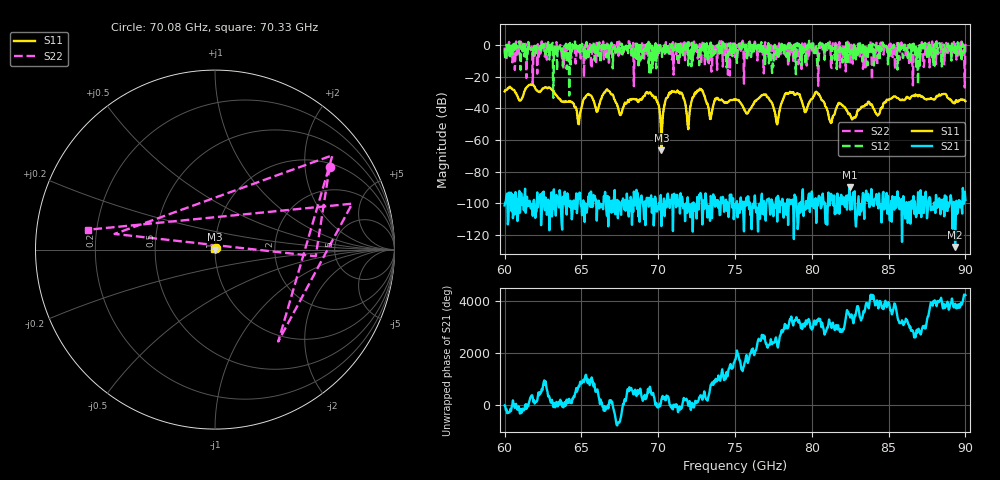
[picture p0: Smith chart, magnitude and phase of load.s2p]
!Created with skrf (http://scikit-rf.org).
# GHz S RI R 50.0
!freq ReS11 ImS11 ReS21 ImS21 ReS12 ImS12 ReS22 ImS22
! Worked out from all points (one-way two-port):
!   721 points, 60 GHz to 90 GHz, reference 50 ohm
!   highest |S21| = -89.91 dB at 82.46 GHz (marker M1); lowest = -127.5 dB at 89.33 GHz (marker M2)
!   lowest |S11| = -66.4 dB at 70.21 GHz (marker M3), VSWR 1.00, Z = 50 + j0.00955 ohm
!   |S11| at or under -10 dB: start of sweep to end of sweep
!   |S22| runs from -26.7 to 2.9 dB; largest |S21 - S12| = 1.4
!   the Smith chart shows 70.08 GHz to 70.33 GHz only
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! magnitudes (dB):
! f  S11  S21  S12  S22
! 60 GHz  -29.2  -101.3  -2.7  -1.5
! 65 GHz  -39.8  -101.1  -1.3  -1.3
! 66.71 GHz  -28.3  -95.3  -2.2  -0.1
! 67.54 GHz  -44.3  -104.4  0.9  -5.3
! 69.33 GHz  -30.5  -96.5  0.0  -2.8
! 70 GHz  -37.1  -101.9  -0.6  0.3
! 70.21 GHz  -66.4  -114.4  -1.0  -1.5
! 70.88 GHz  -29.0  -97.2  0.6  -8.8
! 71.96 GHz  -53.2  -101.2  -12.8  1.5
! 72.67 GHz  -28.4  -94.5  -12.7  -1.1
! 73.42 GHz  -46.6  -95.3  1.6  -1.3
! 75 GHz  -34.7  -100.5  0.7  -7.6
! 75.79 GHz  -43.3  -101.0  -9.3  -2.9
! 76.92 GHz  -31.4  -107.4  -1.6  -4.1
! 77.75 GHz  -50.1  -111.5  -1.1  -0.8
! 78.38 GHz  -30.3  -106.4  -7.6  -1.1
! 80 GHz  -34.0  -92.5  -3.3  0.2
! 82.46 GHz  -43.3  -89.9  -4.3  -1.3
! 85 GHz  -34.6  -105.7  -2.4  -5.3
! 86.46 GHz  -32.7  -103.7  -9.7  -5.0
! 89.33 GHz  -36.3  -127.5  -0.8  0.4
! 90 GHz  -35.4  -97.8  -3.2  0.8
